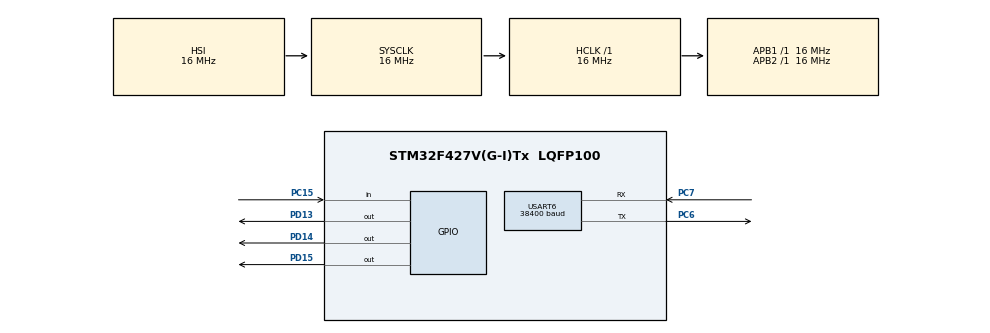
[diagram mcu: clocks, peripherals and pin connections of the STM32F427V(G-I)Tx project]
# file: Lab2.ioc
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Mcu.Family=STM32F4
Mcu.Name=STM32F427V(G-I)Tx
Mcu.Package=LQFP100
NVIC.PriorityGroup=NVIC_PRIORITYGROUP_4
NVIC.USART6_IRQn=true\:0\:0\:false\:false\:true\:true\:true\:true
PA13.Mode=JTAG_5_pins
PA13.Signal=SYS_JTMS-SWDIO
PA14.Mode=JTAG_5_pins
PA14.Signal=SYS_JTCK-SWCLK
PA15.Mode=JTAG_5_pins
PA15.Signal=SYS_JTDI
PB3.Mode=JTAG_5_pins
PB3.Signal=SYS_JTDO-SWO
PB4.Mode=JTAG_5_pins
PB4.Signal=SYS_JTRST
PC15/OSC32_OUT.Signal=GPIO_Input
PC6.Mode=Asynchronous
PC6.Signal=USART6_TX
PC7.Mode=Asynchronous
PC7.Signal=USART6_RX
PD13.Signal=GPIO_Output
PD14.Signal=GPIO_Output
PD15.Signal=GPIO_Output
ProjectManager.HeapSize=0x200
ProjectManager.StackSize=0x400
ProjectManager.TargetToolchain=STM32CubeIDE
RCC.AHBFreq_Value=16000000
RCC.APB1Freq_Value=16000000
RCC.APB2Freq_Value=16000000
RCC.CortexFreq_Value=16000000
RCC.HSE_VALUE=25000000
RCC.HSI_VALUE=16000000
RCC.LSE_VALUE=32768
RCC.SYSCLKFreq_VALUE=16000000
RCC.VCOOutputFreq_Value=192000000
USART6.BaudRate=38400
USART6.VirtualMode=VM_ASYNC
board=custom

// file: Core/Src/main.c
/* USER CODE BEGIN Header */
/**
  ******************************************************************************
  * @file           : main.c
  * @brief          : Main program body
  ******************************************************************************
  * @attention
  *
  * Copyright (c) 2024 STMicroelectronics.
  * All rights reserved.
  *
  * This software is licensed under terms that can be found in the LICENSE file
  * in the root directory of this software component.
  * If no LICENSE file comes with this software, it is provided AS-IS.
  *
  ******************************************************************************
  */
/* USER CODE END Header */
#include "main.h"
#include "usart.h"
#include "gpio.h"
#include "buf.h"
#include "btn.h"

/* USER CODE BEGIN PD */
#define MODES 8
#define MODE_STEPS 8
/* USER CODE END PD */

void SystemClock_Config(void);

/* USER CODE BEGIN 0 */
_Bool is_interrupts = false;

void enable_interrupts() {
	HAL_NVIC_EnableIRQ(USART6_IRQn);
	is_interrupts = true;
}

void disable_interrupts() {
	HAL_UART_AbortReceive(&huart6);
	HAL_Delay(10);
	HAL_NVIC_DisableIRQ(USART6_IRQn);
	is_interrupts = false;
}

struct Buffer receiveBuffer = {0};
struct Buffer transmitBuffer = {0};

uint8_t char_buf[1] = {'\0'};

void transmit(uint8_t* data, size_t size) {
	if (is_interrupts) {
		if (HAL_UART_Transmit_IT(&huart6, data, size) == HAL_BUSY) {
			buf_push(&transmitBuffer, data, size);
		}
	} else {
		HAL_UART_Transmit(&huart6, data, size, 100);
	}
}

void transmitc(char* data) {
	transmit((uint8_t*) data, strlen(data));
}

void receive() {
	if (is_interrupts) {
		HAL_UART_Receive_IT(&huart6, char_buf, sizeof(char_buf));
	} else {
		if (HAL_UART_Receive(&huart6, char_buf, sizeof(char_buf), 0) == HAL_OK) {
			buf_push(&receiveBuffer, char_buf, sizeof(char_buf));
			transmit(char_buf, sizeof(char_buf));
		}
	}
}
void HAL_UART_RxCpltCallback(UART_HandleTypeDef *huart) {
	buf_push(&receiveBuffer, char_buf, sizeof(char_buf));
	transmit(char_buf, sizeof(char_buf));
}

void HAL_UART_TxCpltCallback(UART_HandleTypeDef *huart) {
  uint8_t buf[1024];
  if (buf_pop(&transmitBuffer, buf, sizeof(buf))) {
	  HAL_UART_Transmit_IT(&huart6, buf, strlen((char*) buf));
  }
}
/* USER CODE END 0 */

int main(void)
{

  /* MCU Configuration--------------------------------------------------------*/

  /* Reset of all peripherals, Initializes the Flash interface and the Systick. */
  HAL_Init();

  /* USER CODE BEGIN Init */
  buf_init(&receiveBuffer);
  buf_init(&transmitBuffer);
  /* USER CODE END Init */

  /* Configure the system clock */
  SystemClock_Config();

  /* Initialize all configured peripherals */
  MX_GPIO_Init();
  MX_USART6_UART_Init();
  /* USER CODE BEGIN 2 */
  uint32_t garland_modes[MODES][MODE_STEPS] = {
		  { 0x1, 0x2, 0x1, 0x2, -1, -1, -1, -1 },
		  { 0x3, 0x0, 0x3, 0x0, -1, -1, -1, -1 },
		  { 0x1, 0x2, 0x4, 0x0, -1, -1, -1, -1 },
		  { 0x2, 0x4, 0x2, 0x4, -1, -1, -1, -1 },
		  { -1, -1, -1, -1, -1, -1, -1, -1 },
		  { -1, -1, -1, -1, -1, -1, -1, -1 },
		  { -1, -1, -1, -1, -1, -1, -1, -1 },
		  { -1, -1, -1, -1, -1, -1, -1, -1 },
  };
  uint32_t garland_freq[MODES] = { 400, 400, 1000, 100, 500, 500, 500, 500 };
  size_t modes_steps[MODES] = { 0, 0, 0, 0, 0, 0, 0, 0 };
  size_t cur_mode = 0;

  int should_change_mode = 0;
  uint16_t btn_state;

  uint16_t state = 0; // waiting for command
  uint32_t new_mode_steps[MODE_STEPS] = { -1, -1, -1, -1, -1, -1, -1, -1 };
  size_t new_mode_num = 4;

  char stdin[256] = {0};
  size_t stdinp = 0;

  bool is_digit(char c) {
	  return c >= '0' && c <= '9';
  }

  void validate_command() {
	  if (state == 0) {
		  if (stdinp >= 4 && (strncmp(stdin, "new ", 4) == 0)) {
			  size_t i = 0;
			  char color = *(stdin + 4 + i);
			  bool unknown_led = false;
			  while (i < MODE_STEPS && color != '\r') {
				  if (color == 'g') new_mode_steps[i] = 0x1;
				  else if (color == 'y') new_mode_steps[i] = 0x2;
				  else if (color == 'r') new_mode_steps[i] = 0x4;
				  else if (color == 'n') new_mode_steps[i] = 0x0;
				  else {
					  unknown_led = true;
					  transmitc("Unknown led\r\n");
					  break;
				  }
				  i++;
				  color = *(stdin + 4 + i);
			  }
			  if (!unknown_led) {
				  while (i < MODE_STEPS) new_mode_steps[i++] = -1;
				  state = 1; // wait for new mode freq input
				  transmitc("Input new mode freq (0-9):\r\n");
			  }
		  }
		  else if (stdinp >= 4 && (strncmp(stdin, "set ", 4) == 0) && is_digit(stdin[4])) {
			  size_t mode = stdin[4] - '0';
			  if (mode >= MODES) {
				  transmitc("Unknown mode\r\n");
			  } else {
				  cur_mode = mode;
				  transmitc("OK\r\n");
			  }
		  }
		  else if (stdinp >= 17 && (strncmp(stdin, "set interrupts on", 17) == 0)) {
			  enable_interrupts();
			  transmitc("OK\r\n");
		  }
		  else if (stdinp >= 18 && (strncmp(stdin, "set interrupts off", 18) == 0)) {
			  disable_interrupts();
			  transmitc("OK\r\n");
		  }
		  else {
			  transmitc("Unknown command\r\n");
		  }
	  } else if (state == 1) {
		  if (stdinp >= 1 && is_digit(stdin[0])) {
			  garland_freq[new_mode_num] = (stdin[0] - '0' + 1) * 100;
			  for (size_t i = 0; i < MODE_STEPS; i++) {
				  garland_modes[new_mode_num][i] = new_mode_steps[i];
			  }
			  state = 0; // wait for command
			  new_mode_num = (new_mode_num + 1) % MODES;
			  if (new_mode_num == 0) new_mode_num = 4;
			  transmitc("OK\r\n");
		  }
		  else {
			  transmitc("Unknown freq\r\n");
		  }
	  }
	  transmitc("> ");
	  stdinp = 0;
  }

  void prevalidate_command() {
	  if (state == 0) {
		  if (stdinp >= 12 && (strncmp(stdin, "new ", 4) == 0)) {
			  transmitc("\r\n");
			  validate_command();
		  }
	  } else if (state == 1) {
		  if (stdinp >= 1) {
			  transmitc("\r\n");
			  validate_command();
		  }
	  }
  }

  transmitc("Ready to work\r\n> ");
  /* USER CODE END 2 */

  /* Infinite loop */
  /* USER CODE BEGIN WHILE */
  while (1)
  {
	  uint32_t cur_state = garland_modes[cur_mode][modes_steps[cur_mode]];

	  if (cur_state == -1) {
		  while (cur_state == -1) {
			  modes_steps[cur_mode] = 0;
			  cur_state = garland_modes[cur_mode][0];
			  if (cur_state == -1) cur_mode = (cur_mode + 1) % MODES;
		  }
	  }

	  HAL_GPIO_WritePin(GPIOD, GPIO_PIN_13, GPIO_PIN_RESET);
	  HAL_GPIO_WritePin(GPIOD, GPIO_PIN_14, GPIO_PIN_RESET);
	  HAL_GPIO_WritePin(GPIOD, GPIO_PIN_15, GPIO_PIN_RESET);

	  if ((cur_state & 0x1) != 0) HAL_GPIO_WritePin(GPIOD, GPIO_PIN_13, GPIO_PIN_SET);
	  if ((cur_state & 0x2) != 0) HAL_GPIO_WritePin(GPIOD, GPIO_PIN_14, GPIO_PIN_SET);
	  if ((cur_state & 0x4) != 0) HAL_GPIO_WritePin(GPIOD, GPIO_PIN_15, GPIO_PIN_SET);

	  uint32_t wait_ticks = garland_freq[cur_mode];
	  uint32_t ticks = HAL_GetTick();
	  while ((HAL_GetTick() - ticks) < wait_ticks) {

		  receive();

		  uint8_t read[2] = {0};
		  if (buf_pop(&receiveBuffer, read, sizeof(read))) {
			  char c = (char) read[0];
			  if (stdinp == sizeof(stdin)) {
				  transmitc("\r\nInput buffer overflow\r\n> ");
				  stdinp = 0;
			  } else {
				  stdin[stdinp++] = c;
				  if (c == '\r') {
					  transmitc("\n");
					  validate_command();
				  } else {
					  prevalidate_command();
				  }
			  }
		  }

		  BTN_GetState(&btn_state);
		  if (BTN_IsSet(&btn_state, BTN_DOWN_EVENT)) {
			  should_change_mode = 1;
			  break;
		  }
	  }

	  if (should_change_mode == 1) {
		  should_change_mode = 0;
		  cur_mode = (cur_mode + 1) % MODES;
		  continue;
	  }

	  modes_steps[cur_mode] = (modes_steps[cur_mode] + 1) % MODE_STEPS;
    /* USER CODE END WHILE */

  }
}

void SystemClock_Config(void)
{
  RCC_OscInitTypeDef RCC_OscInitStruct = {0};
  RCC_ClkInitTypeDef RCC_ClkInitStruct = {0};

  /** Configure the main internal regulator output voltage
  */
  __HAL_RCC_PWR_CLK_ENABLE();
  __HAL_PWR_VOLTAGESCALING_CONFIG(PWR_REGULATOR_VOLTAGE_SCALE3);

  /** Initializes the RCC Oscillators according to the specified parameters
  * in the RCC_OscInitTypeDef structure.
  */
  RCC_OscInitStruct.OscillatorType = RCC_OSCILLATORTYPE_HSI;
  RCC_OscInitStruct.HSIState = RCC_HSI_ON;
  RCC_OscInitStruct.HSICalibrationValue = RCC_HSICALIBRATION_DEFAULT;
  RCC_OscInitStruct.PLL.PLLState = RCC_PLL_NONE;
  if (HAL_RCC_OscConfig(&RCC_OscInitStruct) != HAL_OK)
  {
    Error_Handler();
  }

  /** Initializes the CPU, AHB and APB buses clocks
  */
  RCC_ClkInitStruct.ClockType = RCC_CLOCKTYPE_HCLK|RCC_CLOCKTYPE_SYSCLK
                              |RCC_CLOCKTYPE_PCLK1|RCC_CLOCKTYPE_PCLK2;
  RCC_ClkInitStruct.SYSCLKSource = RCC_SYSCLKSOURCE_HSI;
  RCC_ClkInitStruct.AHBCLKDivider = RCC_SYSCLK_DIV1;
  RCC_ClkInitStruct.APB1CLKDivider = RCC_HCLK_DIV1;
  RCC_ClkInitStruct.APB2CLKDivider = RCC_HCLK_DIV1;

  if (HAL_RCC_ClockConfig(&RCC_ClkInitStruct, FLASH_LATENCY_0) != HAL_OK)
  {
    Error_Handler();
  }
}

void Error_Handler(void)
{
  __disable_irq();
  while (1)
  {
  }
}
